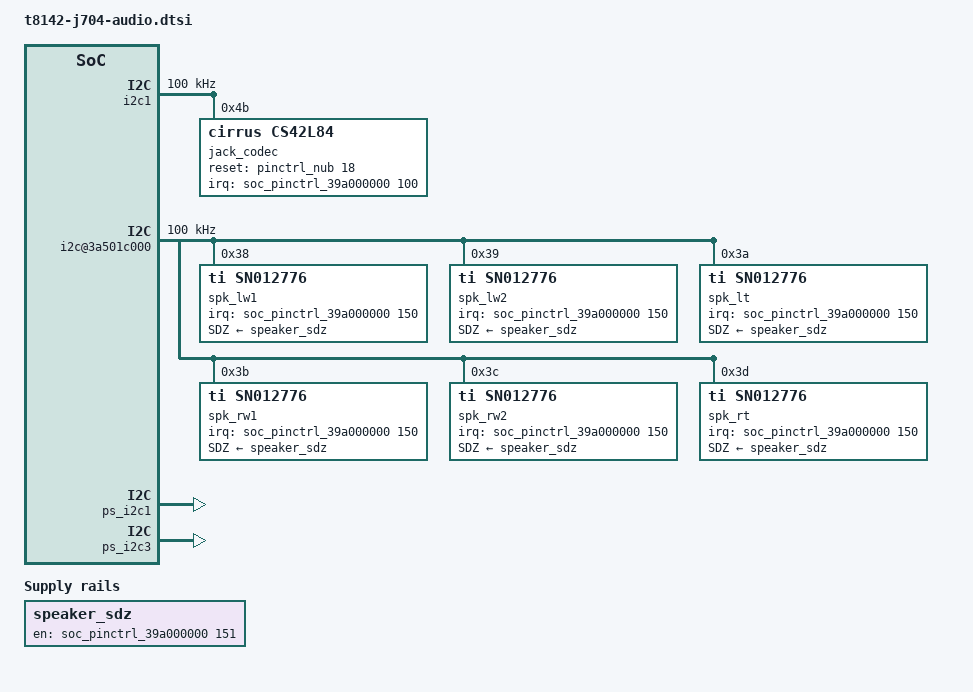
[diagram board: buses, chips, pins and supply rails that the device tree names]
// SPDX-License-Identifier: GPL-2.0-only OR MIT
/*
 * J704 audio coprocessor, headphone jack and six internal amplifiers, verified
 * on 2026-10-31/11-01 (RTKit boot, setup-port handshake, every AOP audio EPIC
 * service announced, CS42L84 identified, headphone insertion detected).
 *
 * - The AOP setup port lives at AOP ASC + 0x4007c000 (0x3d067c000), as on the
 *   A18. The ADT's aop-exclave-mailbox reg is already a CPU physical address
 *   and must not be translated through the /arm-io ranges.
 * - dart-aop is locked by iBoot with inherited roots; streams 0 (AOP),
 *   1 (setup port) and 8 (base-ns ADMAC) use free 64 GiB slots.
 * - The AOP firmware turns AUDIO_A/FR/P off during its audio init and polls
 *   for ACTUAL == 0, so those domains are firmware-owned: the Linux pwrstate
 *   driver would pin them on with AUTO_ENABLE.
 *
 * The AOP owns the serializers. The host uses base-ns ADMAC TX2/RX2 for
 * the jack and TX0/RX0 for six playback and twelve V/I sense channels.
 */

&{/soc} {
	#address-cells = <2>;
	#size-cells = <2>;

	pmgr_aop: power-management@388284000 {
		compatible = "apple,t8142-pmgr", "apple,t8103-pmgr", "syscon", "simple-mfd";
		#address-cells = <1>;
		#size-cells = <1>;
		reg = <0x3 0x88284000 0x0 0x4000>;

		ps_aop_filter: power-controller@0 {
			compatible = "apple,t8142-pmgr-pwrstate", "apple,t8103-pmgr-pwrstate";
			reg = <0x0 4>;
			#power-domain-cells = <0>;
			#reset-cells = <0>;
			label = "aop_filter";
			apple,always-on;
		};

		ps_aop_fr: power-controller@18 {
			compatible = "apple,t8142-pmgr-pwrstate", "apple,t8103-pmgr-pwrstate";
			reg = <0x18 4>;
			#power-domain-cells = <0>;
			#reset-cells = <0>;
			label = "aop_fr";
			power-domains = <&ps_aop_filter>;
			apple,always-on;
		};

		ps_aop_dart: power-controller@20 {
			compatible = "apple,t8142-pmgr-pwrstate", "apple,t8103-pmgr-pwrstate";
			reg = <0x20 4>;
			#power-domain-cells = <0>;
			#reset-cells = <0>;
			label = "aop_dart";
			power-domains = <&ps_aop_filter>;
			apple,always-on;
		};

		ps_aop_base: power-controller@78 {
			compatible = "apple,t8142-pmgr-pwrstate", "apple,t8103-pmgr-pwrstate";
			reg = <0x78 4>;
			#power-domain-cells = <0>;
			#reset-cells = <0>;
			label = "aop_base";
			power-domains = <&ps_aop_dart>;
			apple,always-on;
		};

		ps_audio_a: power-controller@80 {
			compatible = "apple,t8142-pmgr-pwrstate", "apple,t8103-pmgr-pwrstate";
			reg = <0x80 4>;
			#power-domain-cells = <0>;
			#reset-cells = <0>;
			label = "audio_a";
			power-domains = <&ps_aop_dart>;
			apple,firmware-owned;
		};

		ps_aop_cpu: power-controller@a8 {
			compatible = "apple,t8142-pmgr-pwrstate", "apple,t8103-pmgr-pwrstate";
			reg = <0xa8 4>;
			#power-domain-cells = <0>;
			#reset-cells = <0>;
			label = "aop_cpu";
			power-domains = <&ps_aop_base>, <&ps_aop_fr>;
			apple,always-on;
		};

		ps_audio_fr: power-controller@b8 {
			compatible = "apple,t8142-pmgr-pwrstate", "apple,t8103-pmgr-pwrstate";
			reg = <0xb8 4>;
			#power-domain-cells = <0>;
			#reset-cells = <0>;
			label = "audio_fr";
			power-domains = <&ps_audio_a>;
			apple,firmware-owned;
		};

		ps_audio_p: power-controller@d8 {
			compatible = "apple,t8142-pmgr-pwrstate", "apple,t8103-pmgr-pwrstate";
			reg = <0xd8 4>;
			#power-domain-cells = <0>;
			#reset-cells = <0>;
			label = "audio_p";
			power-domains = <&ps_audio_fr>;
			apple,firmware-owned;
		};

		ps_audio_base_ns_a: power-controller@f8 {
			compatible = "apple,t8142-pmgr-pwrstate", "apple,t8103-pmgr-pwrstate";
			reg = <0xf8 4>;
			#power-domain-cells = <0>;
			#reset-cells = <0>;
			label = "audio_base_ns_a";
			power-domains = <&ps_audio_p>;
		};

		ps_audio_mca2_m: power-controller@118 {
			compatible = "apple,t8142-pmgr-pwrstate", "apple,t8103-pmgr-pwrstate";
			reg = <0x118 4>;
			#power-domain-cells = <0>;
			#reset-cells = <0>;
			label = "audio_mca2_m";
			power-domains = <&ps_audio_p>;
			/* cout powers MCA2 through the AOP, not through Linux votes. */
			apple,firmware-owned;
		};
	};

	aop_dart: iommu@390fc0000 {
		compatible = "apple,t8140-dart", "apple,t8110-dart";
		reg = <0x3 0x90fc0000 0x0 0xc000>;
		#iommu-cells = <1>;
		interrupt-parent = <&aic>;
		interrupts = <0 528 4>;
		power-domains = <&ps_aop_base>;
	};

	aop_mbox: mailbox@390608000 {
		compatible = "apple,t8140-asc-mailbox", "apple,asc-mailbox-v4";
		reg = <0x3 0x90608000 0x0 0x4000>;
		interrupt-parent = <&aic>;
		interrupts = <0 490 4>, <0 491 4>, <0 492 4>, <0 493 4>;
		interrupt-names = "send-empty", "send-not-empty",
				  "recv-empty", "recv-not-empty";
		#mbox-cells = <0>;
	};

	aop_setup_mbox: mailbox@3d067c000 {
		compatible = "apple,t8140-aop-setup-mailbox";
		reg = <0x3 0xd067c000 0x0 0x4000>;
		interrupt-parent = <&aic>;
		interrupts = <0 494 4>, <0 497 4>;
		interrupt-names = "send-empty", "recv-not-empty";
		iommus = <&aop_dart 1>;
		apple,dma-range = <0x200 0x0 0x10 0x0>;
		#mbox-cells = <0>;
	};

	aop: aop@390c00000 {
		compatible = "apple,t8140-aop";
		reg = <0x3 0x90c00000 0x0 0x1e0000>,
		      <0x3 0x90600000 0x0 0x88000>;
		reg-names = "mmio", "asc";
		mboxes = <&aop_mbox>, <&aop_setup_mbox>;
		mbox-names = "mbox", "setup";
		iommus = <&aop_dart 0>;
		apple,dma-range = <0x110 0x0 0x10 0x0>;
		power-domains = <&ps_aop_cpu>;

		aop_audio: audio {
			compatible = "apple,t8142-aop-audio", "apple,t8140-aop-audio";
			iommus = <&aop_dart 9>;
			apple,dma-range = <0x100 0x40000000 0x0 0xffff0000>;
			dmas = <&admac_base_ns 4>, <&admac_base_ns 5>,
			       <&admac_base_ns 0>, <&admac_base_ns 1>;
			dma-names = "cout", "cin", "spkr", "sense";
			power-domains = <&ps_audio_mca2_m>;
			power-domain-names = "mca1";
			apple,chassis-name = "J704";
			apple,machine-kind = "MacBook Pro";
			#sound-dai-cells = <1>;
		};
	};

	admac_base_ns: dma-controller@393800000 {
		compatible = "apple,t8140-admac";
		reg = <0x3 0x93800000 0x0 0x34000>;
		dma-channels = <13>;
		interrupts-extended = <&aic 0 549 4>, <0>, <0>, <0>;
		#dma-cells = <1>;
		iommus = <&aop_dart 8>;
		apple,dma-range = <0x110 0x0 0x0 0x10000000>;
		power-domains = <&ps_audio_base_ns_a>;
	};

	pinctrl_nub: pinctrl@3881f0000 {
		compatible = "apple,t8142-pinctrl";
		reg = <0x3 0x881f0000 0x0 0x4000>;
		gpio-controller;
		#gpio-cells = <2>;
		gpio-ranges = <&pinctrl_nub 0 0 40>;
		apple,npins = <40>;
	};

	i2c1: i2c@3a5014000 {
		compatible = "apple,t8142-i2c", "apple,i2c";
		reg = <0x3 0xa5014000 0x0 0x4000>;
		interrupt-parent = <&aic>;
		interrupts = <0 1248 4>;
		power-domains = <&ps_i2c1>;
		clocks = <&clock_ref>;
		clock-frequency = <100000>;
		#address-cells = <1>;
		#size-cells = <0>;

		jack_codec: codec@4b {
			compatible = "cirrus,cs42l84";
			reg = <0x4b>;
			/* The driver drives this line high to run the codec. */
			reset-gpios = <&pinctrl_nub 18 0>;
			interrupts-extended = <&soc_pinctrl_39a000000 100 8>;
			#sound-dai-cells = <0>;
			sound-name-prefix = "Jack";
		};
	};

	i2c@3a501c000 {
		compatible = "apple,t8142-i2c", "apple,i2c";
		reg = <0x3 0xa501c000 0x0 0x4000>;
		interrupt-parent = <&aic>;
		interrupts = <0 1250 4>;
		power-domains = <&ps_i2c3>;
		clocks = <&clock_ref>;
		clock-frequency = <100000>;
		#address-cells = <1>;
		#size-cells = <0>;

		spk_lw1: codec@38 {
			compatible = "ti,sn012776", "ti,tas2764";
			reg = <0x38>;
			SDZ-supply = <&speaker_sdz>;
			apple,sdz-group-fail-closed;
			#sound-dai-cells = <0>;
			sound-name-prefix = "Left Woofer 1";
			interrupts-extended = <&soc_pinctrl_39a000000 150 8>;
			ti,imon-slot-no = <0>;
			ti,vmon-slot-no = <2>;
		};

		spk_lw2: codec@39 {
			compatible = "ti,sn012776", "ti,tas2764";
			reg = <0x39>;
			SDZ-supply = <&speaker_sdz>;
			apple,sdz-group-fail-closed;
			#sound-dai-cells = <0>;
			sound-name-prefix = "Left Woofer 2";
			interrupts-extended = <&soc_pinctrl_39a000000 150 8>;
			ti,imon-slot-no = <8>;
			ti,vmon-slot-no = <10>;
		};

		spk_lt: codec@3a {
			compatible = "ti,sn012776", "ti,tas2764";
			reg = <0x3a>;
			SDZ-supply = <&speaker_sdz>;
			apple,sdz-group-fail-closed;
			#sound-dai-cells = <0>;
			sound-name-prefix = "Left Tweeter";
			interrupts-extended = <&soc_pinctrl_39a000000 150 8>;
			ti,imon-slot-no = <16>;
			ti,vmon-slot-no = <18>;
		};

		spk_rw1: codec@3b {
			compatible = "ti,sn012776", "ti,tas2764";
			reg = <0x3b>;
			SDZ-supply = <&speaker_sdz>;
			apple,sdz-group-fail-closed;
			#sound-dai-cells = <0>;
			sound-name-prefix = "Right Woofer 1";
			interrupts-extended = <&soc_pinctrl_39a000000 150 8>;
			ti,imon-slot-no = <4>;
			ti,vmon-slot-no = <6>;
		};

		spk_rw2: codec@3c {
			compatible = "ti,sn012776", "ti,tas2764";
			reg = <0x3c>;
			SDZ-supply = <&speaker_sdz>;
			apple,sdz-group-fail-closed;
			#sound-dai-cells = <0>;
			sound-name-prefix = "Right Woofer 2";
			interrupts-extended = <&soc_pinctrl_39a000000 150 8>;
			ti,imon-slot-no = <12>;
			ti,vmon-slot-no = <14>;
		};

		spk_rt: codec@3d {
			compatible = "ti,sn012776", "ti,tas2764";
			reg = <0x3d>;
			SDZ-supply = <&speaker_sdz>;
			apple,sdz-group-fail-closed;
			#sound-dai-cells = <0>;
			sound-name-prefix = "Right Tweeter";
			interrupts-extended = <&soc_pinctrl_39a000000 150 8>;
			ti,imon-slot-no = <20>;
			ti,vmon-slot-no = <22>;
		};
	};
};

&{/soc/power-management@380700000} {
	#address-cells = <1>;
	#size-cells = <1>;

	ps_i2c1: power-controller@350 {
		compatible = "apple,t8142-pmgr-pwrstate", "apple,t8103-pmgr-pwrstate";
		reg = <0x350 4>;
		#power-domain-cells = <0>;
		#reset-cells = <0>;
		label = "i2c1";
	};

	ps_i2c3: power-controller@360 {
		compatible = "apple,t8142-pmgr-pwrstate", "apple,t8103-pmgr-pwrstate";
		reg = <0x360 4>;
		#power-domain-cells = <0>;
		#reset-cells = <0>;
		label = "i2c3";
	};
};


&{/} {
	speaker_sdz: regulator-sn012776-sdz {
		compatible = "regulator-fixed";
		regulator-name = "sn012776-sdz";
		gpios = <&soc_pinctrl_39a000000 151 0>;
		enable-active-high;
	};

	sound-jack {
		compatible = "apple,j704-macaudio", "apple,macaudio";
		model = "MacBook Pro J704 Jack";
		#address-cells = <1>;
		#size-cells = <0>;

		dai-link@0 {
			reg = <0>;
			link-name = "Headphone Jack";

			cpu {
				sound-dai = <&aop_audio 0>;
			};

			codec {
				sound-dai = <&jack_codec>;
			};
		};
	};

	sound-speakers {
		compatible = "apple,j704-macaudio-speakers", "apple,macaudio";
		model = "MacBook Pro J704";
		#address-cells = <1>;
		#size-cells = <0>;

		dai-link@0 {
			reg = <0>;
			link-name = "Speakers";
			dai-tdm-idle-mode-0 = "zero";
			dai-tdm-idle-mode-1 = "zero";
			dai-tdm-slot-tx-idle-mask-0 = <0xf0f0f0>;
			dai-tdm-slot-tx-idle-mask-1 = <0x0f0f0f>;

			cpu {
				sound-dai = <&aop_audio 5>;
			};

			codec {
				sound-dai = <&spk_lw1>, <&spk_rw1>, <&spk_lw2>, <&spk_rw2>,
					    <&spk_lt>, <&spk_rt>;
			};
		};
	};
};
